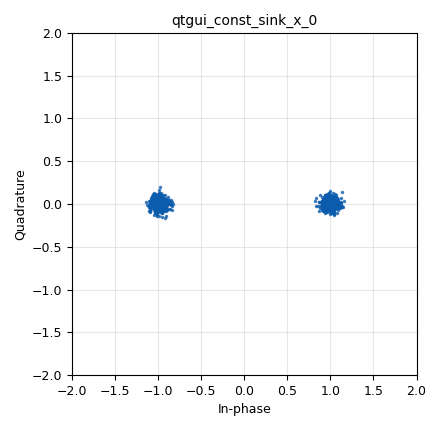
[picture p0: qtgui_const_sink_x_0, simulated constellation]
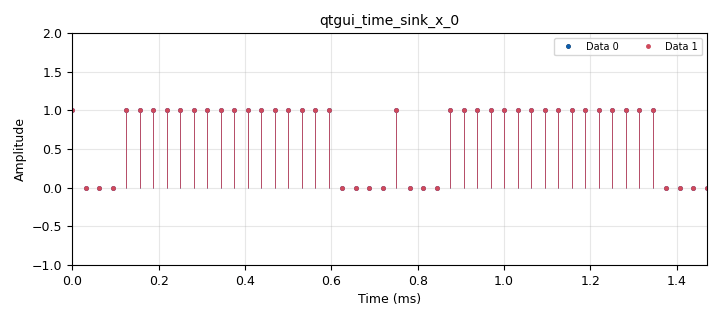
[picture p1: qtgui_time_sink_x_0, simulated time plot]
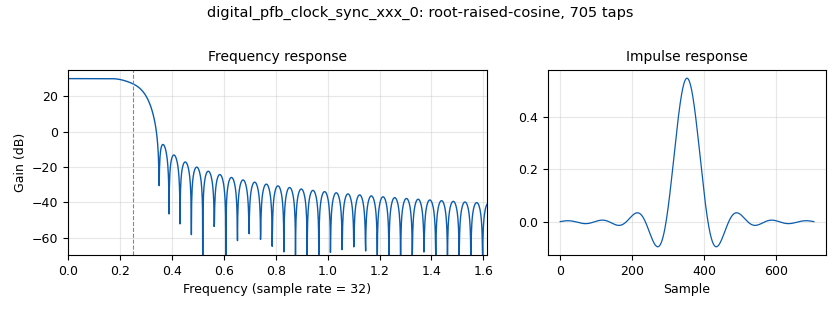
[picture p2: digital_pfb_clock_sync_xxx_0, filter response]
<?xml version='1.0' encoding='utf-8'?>
<?grc format='1' created='3.7.11'?>
<flow_graph>
<block>
<key>options</key>
<param><key>id</key><value>top_block</value></param>
<param><key>generate_options</key><value>qt_gui</value></param>
</block>
<block>
<key>variable_qtgui_range</key>
<param><key>id</key><value>delay</value></param>
<param><key>value</key><value>20</value></param>
<param><key>orient</key><value>Qt.Horizontal</value></param>
<param><key>start</key><value>0</value></param>
<param><key>step</key><value>1</value></param>
<param><key>stop</key><value>100</value></param>
</block>
<block>
<key>variable_qtgui_range</key>
<param><key>id</key><value>noise</value></param>
<param><key>value</key><value>0.1</value></param>
<param><key>orient</key><value>Qt.Horizontal</value></param>
<param><key>start</key><value>0</value></param>
<param><key>step</key><value>0.01</value></param>
<param><key>stop</key><value>1</value></param>
</block>
<block>
<key>variable</key>
<param><key>id</key><value>rrc_taps</value></param>
<param><key>value</key><value>firdes.root_raised_cosine(32, 32, 1.0/float(2), 0.35, 11*2*32)</value></param>
</block>
<block>
<key>variable</key>
<param><key>id</key><value>samp_rate</value></param>
<param><key>value</key><value>32000</value></param>
</block>
<block>
<key>blocks_delay</key>
<param><key>id</key><value>blocks_delay_0</value></param>
<param><key>delay</key><value>int(delay)</value></param>
<param><key>type</key><value>float</value></param>
</block>
<block>
<key>blocks_throttle</key>
<param><key>id</key><value>blocks_throttle_0</value></param>
<param><key>samples_per_second</key><value>samp_rate*10</value></param>
<param><key>type</key><value>byte</value></param>
</block>
<block>
<key>blocks_uchar_to_float</key>
<param><key>id</key><value>blocks_uchar_to_float_0</value></param>
</block>
<block>
<key>blocks_uchar_to_float</key>
<param><key>id</key><value>blocks_uchar_to_float_1</value></param>
</block>
<block>
<key>blocks_unpack_k_bits_bb</key>
<param><key>id</key><value>blocks_unpack_k_bits_bb_0</value></param>
<param><key>k</key><value>8</value></param>
</block>
<block>
<key>blocks_vector_source_x</key>
<param><key>id</key><value>blocks_vector_source_x_0</value></param>
<param><key>type</key><value>byte</value></param>
<param><key>repeat</key><value>True</value></param>
<param><key>vector</key><value>(255, 8, 255)</value></param>
</block>
<block>
<key>channels_channel_model</key>
<param><key>id</key><value>channels_channel_model_0</value></param>
<param><key>epsilon</key><value>1.0</value></param>
<param><key>freq_offset</key><value>0.0</value></param>
<param><key>noise_voltage</key><value>noise</value></param>
<param><key>seed</key><value>0</value></param>
<param><key>taps</key><value>1</value></param>
</block>
<block>
<key>digital_costas_loop_cc</key>
<param><key>id</key><value>digital_costas_loop_cc_0</value></param>
<param><key>w</key><value>62.8e-3</value></param>
<param><key>order</key><value>2</value></param>
</block>
<block>
<key>digital_pfb_clock_sync_xxx</key>
<param><key>id</key><value>digital_pfb_clock_sync_xxx_0</value></param>
<param><key>filter_size</key><value>32</value></param>
<param><key>init_phase</key><value>16</value></param>
<param><key>loop_bw</key><value>62.8e-3</value></param>
<param><key>max_dev</key><value>1.5</value></param>
<param><key>osps</key><value>1</value></param>
<param><key>sps</key><value>2</value></param>
<param><key>taps</key><value>rrc_taps</value></param>
<param><key>type</key><value>ccf</value></param>
</block>
<block>
<key>digital_psk_demod</key>
<param><key>id</key><value>digital_psk_demod_0</value></param>
<param><key>differential</key><value>True</value></param>
<param><key>excess_bw</key><value>0.35</value></param>
<param><key>freq_bw</key><value>6.28/100.0</value></param>
<param><key>mod_code</key><value>"gray"</value></param>
<param><key>constellation_points</key><value>2</value></param>
<param><key>phase_bw</key><value>6.28/100.0</value></param>
<param><key>samples_per_symbol</key><value>2</value></param>
<param><key>timing_bw</key><value>6.28/100.0</value></param>
</block>
<block>
<key>digital_psk_mod</key>
<param><key>id</key><value>digital_psk_mod_0</value></param>
<param><key>differential</key><value>True</value></param>
<param><key>excess_bw</key><value>0.35</value></param>
<param><key>mod_code</key><value>"gray"</value></param>
<param><key>constellation_points</key><value>2</value></param>
<param><key>samples_per_symbol</key><value>2</value></param>
</block>
<block>
<key>qtgui_const_sink_x</key>
<param><key>id</key><value>qtgui_const_sink_x_0</value></param>
<param><key>size</key><value>1024</value></param>
<param><key>type</key><value>complex</value></param>
</block>
<block>
<key>qtgui_time_sink_x</key>
<param><key>id</key><value>qtgui_time_sink_x_0</value></param>
<param><key>color1</key><value>"blue"</value></param>
<param><key>label1</key><value></value></param>
<param><key>marker1</key><value>0</value></param>
<param><key>style1</key><value>2</value></param>
<param><key>color2</key><value>"red"</value></param>
<param><key>label2</key><value></value></param>
<param><key>marker2</key><value>3</value></param>
<param><key>nconnections</key><value>2</value></param>
<param><key>size</key><value>3*8*2</value></param>
<param><key>srate</key><value>samp_rate</value></param>
<param><key>stemplot</key><value>True</value></param>
<param><key>type</key><value>float</value></param>
<param><key>ymax</key><value>2</value></param>
</block>
<connection><source_block_id>blocks_delay_0</source_block_id><sink_block_id>qtgui_time_sink_x_0</sink_block_id><source_key>0</source_key><sink_key>0</sink_key></connection>
<connection><source_block_id>blocks_throttle_0</source_block_id><sink_block_id>blocks_unpack_k_bits_bb_0</sink_block_id><source_key>0</source_key><sink_key>0</sink_key></connection>
<connection><source_block_id>blocks_throttle_0</source_block_id><sink_block_id>digital_psk_mod_0</sink_block_id><source_key>0</source_key><sink_key>0</sink_key></connection>
<connection><source_block_id>blocks_uchar_to_float_0</source_block_id><sink_block_id>qtgui_time_sink_x_0</sink_block_id><source_key>0</source_key><sink_key>1</sink_key></connection>
<connection><source_block_id>blocks_uchar_to_float_1</source_block_id><sink_block_id>blocks_delay_0</sink_block_id><source_key>0</source_key><sink_key>0</sink_key></connection>
<connection><source_block_id>blocks_unpack_k_bits_bb_0</source_block_id><sink_block_id>blocks_uchar_to_float_1</sink_block_id><source_key>0</source_key><sink_key>0</sink_key></connection>
<connection><source_block_id>blocks_vector_source_x_0</source_block_id><sink_block_id>blocks_throttle_0</sink_block_id><source_key>0</source_key><sink_key>0</sink_key></connection>
<connection><source_block_id>channels_channel_model_0</source_block_id><sink_block_id>digital_pfb_clock_sync_xxx_0</sink_block_id><source_key>0</source_key><sink_key>0</sink_key></connection>
<connection><source_block_id>channels_channel_model_0</source_block_id><sink_block_id>digital_psk_demod_0</sink_block_id><source_key>0</source_key><sink_key>0</sink_key></connection>
<connection><source_block_id>digital_costas_loop_cc_0</source_block_id><sink_block_id>qtgui_const_sink_x_0</sink_block_id><source_key>0</source_key><sink_key>0</sink_key></connection>
<connection><source_block_id>digital_pfb_clock_sync_xxx_0</source_block_id><sink_block_id>digital_costas_loop_cc_0</sink_block_id><source_key>0</source_key><sink_key>0</sink_key></connection>
<connection><source_block_id>digital_psk_demod_0</source_block_id><sink_block_id>blocks_uchar_to_float_0</sink_block_id><source_key>0</source_key><sink_key>0</sink_key></connection>
<connection><source_block_id>digital_psk_mod_0</source_block_id><sink_block_id>channels_channel_model_0</sink_block_id><source_key>0</source_key><sink_key>0</sink_key></connection>
</flow_graph>
